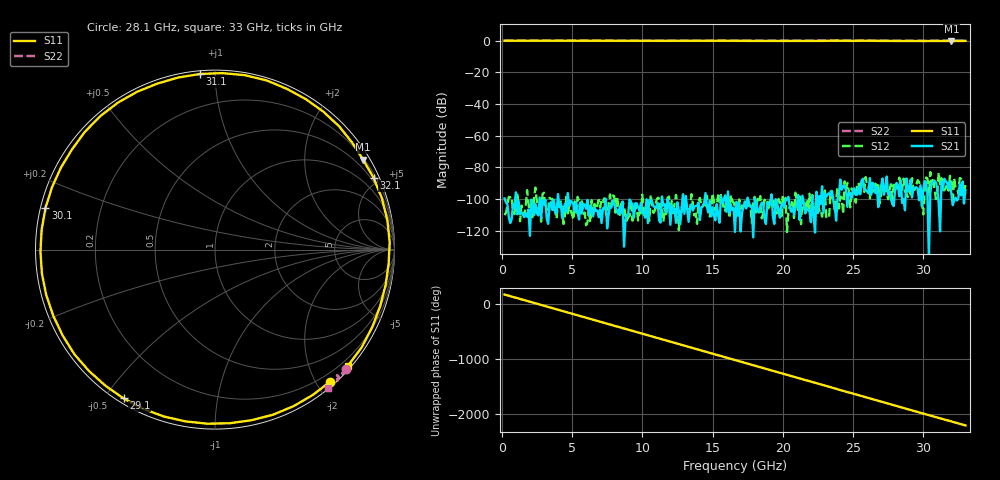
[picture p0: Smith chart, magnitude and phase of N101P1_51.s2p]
# GHZ S RI R 50
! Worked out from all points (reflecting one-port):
!   329 points, 200 MHz to 33 GHz, reference 50 ohm
!   lowest |S11| = -0.3 dB at 32 GHz (marker M1), VSWR 56.97, Z = 12 + j178 ohm
!   phase of S11 starts at 165 deg and turns -2367 deg over the sweep
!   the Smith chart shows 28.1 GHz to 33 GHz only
!   S11 on the Smith chart (normalised r, x): 28.1 GHz: 0.07, -2.20; 29.1 GHz: 0.02, -0.56; 30.1 GHz: 0.01, +0.12; 31.1 GHz: 0.02, +0.92; 32.1 GHz: 0.34, +4.62; 33 GHz: 0.07, -2.66
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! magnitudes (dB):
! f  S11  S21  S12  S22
! 200 MHz  0.0  -99.7  -110.2  0.0
! 5.7 GHz  0.0  -109.1  -101.5  0.0
! 8.8 GHz  -0.2  -113.6  -111.4  0.0
! 11.2 GHz  -0.1  -113.7  -99.8  -0.1
! 16.6 GHz  -0.1  -120.9  -104.9  0.0
! 20 GHz  -0.2  -102.6  -97.6  -0.1
! 22.1 GHz  -0.2  -98.2  -97.5  0.0
! 23.3 GHz  -0.2  -96.4  -111.9  0.1
! 23.6 GHz  -0.1  -101.0  -99.0  0.0
! 23.9 GHz  0.1  -99.9  -92.7  0.1
! 24.2 GHz  -0.1  -94.1  -99.1  0.0
! 24.9 GHz  -0.2  -99.4  -93.4  0.0
! 25.6 GHz  0.0  -88.8  -89.7  0.0
! 27.6 GHz  -0.2  -95.2  -94.9  -0.1
! 28.1 GHz  -0.2  -89.8  -93.6  -0.1
! 29.1 GHz  -0.2  -87.9  -97.1  -0.1
! 30.1 GHz  -0.2  -88.8  -95.3  -0.2
! 31.1 GHz  -0.2  -103.0  -83.3  0.0
! 31.4 GHz  -0.1  -94.2  -94.6  0.0
! 32 GHz  -0.3  -96.6  -88.4  0.0
! 32.1 GHz  -0.3  -103.9  -103.3  0.0
! 33 GHz  -0.1  -94.5  -91.3  -0.1
